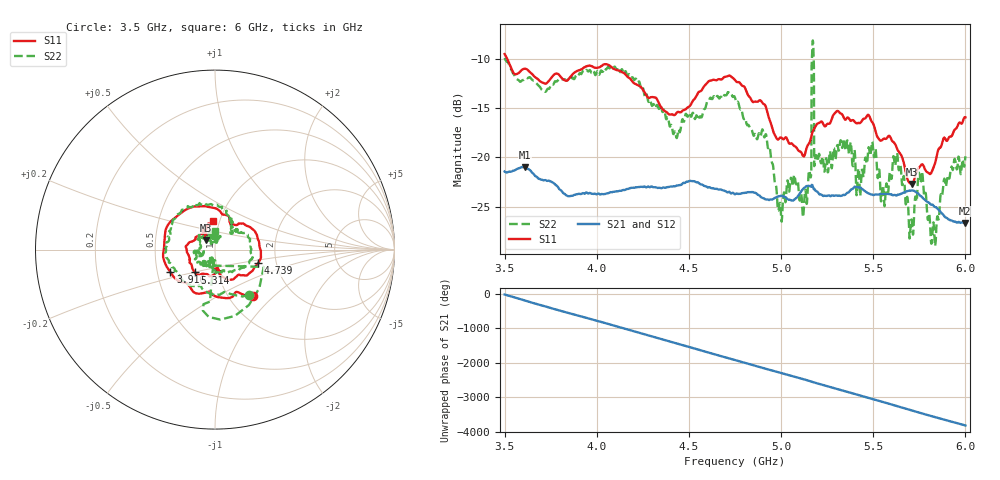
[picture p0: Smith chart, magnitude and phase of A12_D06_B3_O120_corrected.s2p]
! Created with skrf 1.9.0 (http://scikit-rf.org).
# Hz S RI R 50.0
!freq ReS11 ImS11 ReS21 ImS21 ReS12 ImS12 ReS22 ImS22
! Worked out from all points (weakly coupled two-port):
!   1601 points, 3.5 GHz to 6 GHz, reference 50 ohm
!   highest |S21| = -20.96 dB at 3.609 GHz (marker M1); lowest = -26.6 dB at 5.995 GHz (marker M2)
!   lowest |S11| = -22.7 dB at 5.709 GHz (marker M3), VSWR 1.16, Z = 45 + j4.85 ohm
!   |S11| at or under -10 dB: 3.514 GHz to end of sweep
!   |S22| runs from -29.0 to -8.2 dB; largest |S21 - S12| = 0.00097
!   S11 on the Smith chart (normalised r, x): 3.5 GHz: 1.28, -0.75; 3.916 GHz: 0.59, -0.16; 4.739 GHz: 1.61, -0.26; 5.314 GHz: 0.77, -0.20; 6 GHz: 0.93, +0.30
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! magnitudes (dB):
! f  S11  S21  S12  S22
! 3.5 GHz  -9.5  -21.4  -21.4  -9.9
! 3.609 GHz  -11.0  -21.0  -20.9  -12.1
! 3.916 GHz  -11.1  -23.7  -23.7  -11.6
! 3.917 GHz  -11.1  -23.7  -23.7  -11.5
! 4.334 GHz  -14.4  -23.1  -23.0  -15.0
! 4.427 GHz  -15.6  -22.9  -22.9  -17.5
! 4.739 GHz  -12.0  -23.6  -23.6  -13.9
! 4.75 GHz  -12.2  -23.7  -23.6  -14.0
! 4.911 GHz  -14.6  -24.2  -24.1  -17.9
! 4.995 GHz  -18.0  -23.9  -23.8  -24.6
! 5.13 GHz  -19.7  -23.0  -23.0  -23.4
! 5.152 GHz  -18.6  -22.9  -22.8  -21.4
! 5.167 GHz  -17.6  -22.8  -22.7  -10.2
! 5.192 GHz  -16.7  -23.4  -23.4  -19.9
! 5.314 GHz  -15.4  -23.9  -23.8  -19.3
! 5.584 GHz  -17.8  -23.7  -23.7  -22.7
! 5.638 GHz  -19.4  -23.8  -23.7  -21.2
! 5.709 GHz  -22.7  -23.3  -23.3  -26.5
! 5.755 GHz  -20.9  -23.9  -23.8  -22.4
! 5.827 GHz  -21.0  -24.9  -24.8  -26.6
! 5.995 GHz  -15.9  -26.6  -26.5  -20.8
! 6 GHz  -15.9  -26.6  -26.5  -19.9
